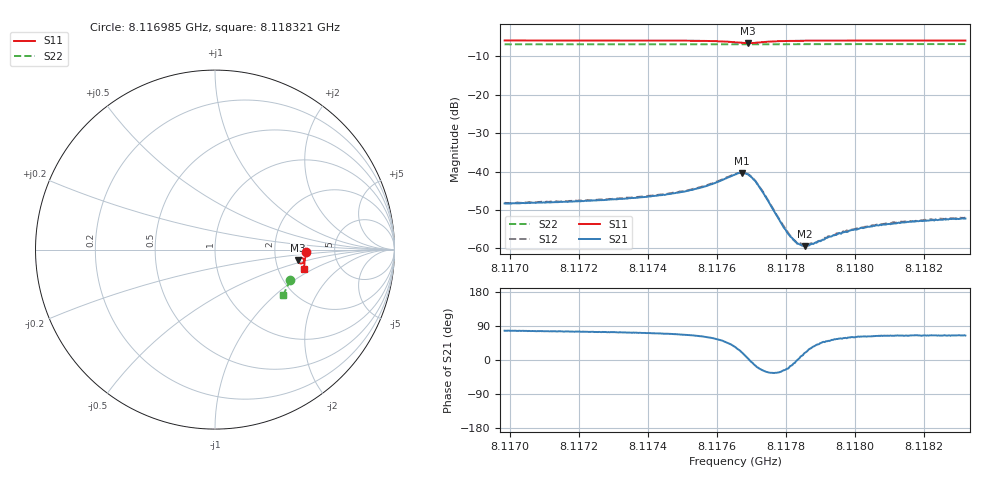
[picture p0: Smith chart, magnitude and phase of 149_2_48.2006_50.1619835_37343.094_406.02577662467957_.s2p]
#  HZ  S  RI  R  50.00
! Rohde & Schwarz Vector Network Analyzer
! Rohde-Schwarz,ZNB20-2Port,1311601062101988,3.16
! Created: UTC 3/20/2024, 11:42:44 AM
! freq[Hz]  re:S11  im:S11  re:S21  im:S21  re:S12  im:S12  re:S22  im:S22
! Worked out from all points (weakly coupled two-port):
!   401 points, 8.116985 GHz to 8.118321 GHz, reference 50 ohm
!   highest |S21| = -40.35 dB at 8.117673 GHz (marker M1); lowest = -59.4 dB at 8.117857 GHz (marker M2)
!   lowest |S11| = -6.6 dB at 8.11769 GHz (marker M3), VSWR 2.75, Z = 134 - j20.5 ohm
!   |S11| at or under -10 dB: nowhere
!   |S22| runs from -6.9 to -6.8 dB; largest |S21 - S12| = 0.00027
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8.1169853e9  0.5059 -0.0159  0.000845 0.00375  0.00089 0.00381  0.4179 -0.1685
8.1172091e9  0.5045 -0.0338  0.00113 0.00399  0.00115 0.00401  0.4124 -0.1832
8.1174329e9  0.5014 -0.0537  0.00168 0.00463  0.00175 0.00468  0.4065 -0.1975
8.117503e9  0.499 -0.0611  0.00216 0.00501  0.00222 0.00509  0.4043 -0.2022
8.1175531e9  0.496 -0.0672  0.00282 0.00548  0.00292 0.00554  0.4027 -0.2054
8.1175932e9  0.4912 -0.0728  0.00386 0.00588  0.004 0.00597  0.4013 -0.2081
8.1176533e9  0.4734 -0.0764  0.00752 0.00515  0.00774 0.0052  0.3987 -0.2117
8.1176734e9  0.4653 -0.07  0.00902 0.0033  0.00918 0.00314  0.3979 -0.2125
8.1176901e9  0.4627 -0.06  0.00923 0.00078  0.00925 0.000635  0.3975 -0.2131
8.1177068e9  0.4671 -0.0501  0.00778 -0.0014  0.00796 -0.00156  0.3973 -0.2135
8.1177268e9  0.4767 -0.0454  0.00549 -0.00246  0.00556 -0.00255  0.3972 -0.2146
8.1177903e9  0.4943 -0.0543  0.00177 -0.000983  0.00178 -0.00107  0.3958 -0.2189
8.1178137e9  0.4963 -0.0582  0.00137 -0.000387  0.00138 -0.000456  0.3954 -0.2206
8.1178337e9  0.4974 -0.0614  0.00116 -1.06e-05  0.00115 -1.4e-05  0.3946 -0.2219
8.1178571e9  0.498 -0.0649  0.00101 0.000359  0.00106 0.000335  0.394 -0.2234
8.1178772e9  0.4983 -0.0674  0.000957 0.000634  0.000985 0.000612  0.3933 -0.2249
8.1179306e9  0.4985 -0.0736  0.000882 0.00112  0.000887 0.00117  0.3917 -0.2283
8.1179907e9  0.4982 -0.0797  0.000856 0.00151  0.000907 0.0015  0.3896 -0.2321
8.1180609e9  0.4975 -0.0861  0.000893 0.00177  0.000926 0.0018  0.3874 -0.2364
8.118101e9  0.4969 -0.0895  0.000917 0.00187  0.000929 0.0019  0.3859 -0.2388
8.1182179e9  0.4952 -0.0991  0.000994 0.0021  0.00102 0.00215  0.382 -0.246
8.1183214e9  0.4935 -0.1072  0.00105 0.00221  0.00108 0.00228  0.3781 -0.2522
